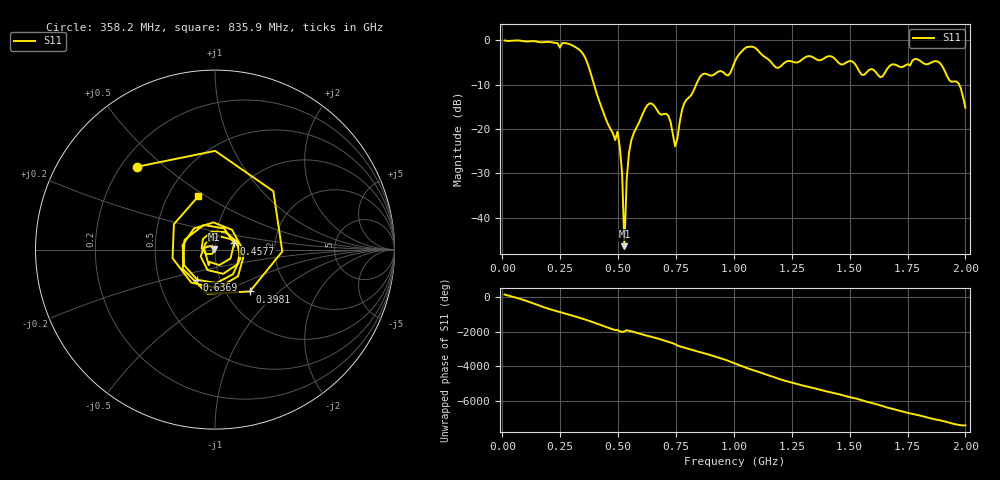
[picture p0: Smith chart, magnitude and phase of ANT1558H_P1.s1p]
!Created with skrf (http://scikit-rf.org).
# Hz S RI R 50.0
!freq ReS11 ImS11
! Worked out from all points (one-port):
!   201 points, 10 MHz to 2 GHz, reference 50 ohm
!   lowest |S11| = -46.4 dB at 527.4 MHz (marker M1), VSWR 1.01, Z = 49.5 + j0.103 ohm
!   |S11| at or under -10 dB: 396.1 MHz to 837.2 MHz (441 MHz wide, 71.5 % of centre); 1.973 GHz to end of sweep
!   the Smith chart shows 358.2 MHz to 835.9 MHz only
!   S11 on the Smith chart (normalised r, x): 358.2 MHz: 0.26, +0.40; 398.1 MHz: 1.29, -0.66; 457.8 MHz: 1.24, +0.09; 636.9 MHz: 0.78, -0.27; 835.9 MHz: 0.70, +0.46
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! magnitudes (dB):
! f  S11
! 10 MHz  0.0
! 258.8 MHz  -0.6
! 358.2 MHz  -3.9
! 398.1 MHz  -10.4
! 457.8 MHz  -19.0
! 487.6 MHz  -22.5
! 497.6 MHz  -20.6
! 507.5 MHz  -24.1
! 517.5 MHz  -30.0
! 527.4 MHz  -46.4
! 537.4 MHz  -31.2
! 547.3 MHz  -25.3
! 636.9 MHz  -14.2
! 716.5 MHz  -16.9
! 746.3 MHz  -23.9
! 756.2 MHz  -22.1
! 786.1 MHz  -14.1
! 835.9 MHz  -10.2
! 1.005 GHz  -4.7
! 1.075 GHz  -1.4
! 1.184 GHz  -6.2
! 1.254 GHz  -4.8
! 1.502 GHz  -4.6
! 1.632 GHz  -8.3
! 1.751 GHz  -5.4
! 1.891 GHz  -5.1
! 1.97 GHz  -9.7
! 2 GHz  -15.2
